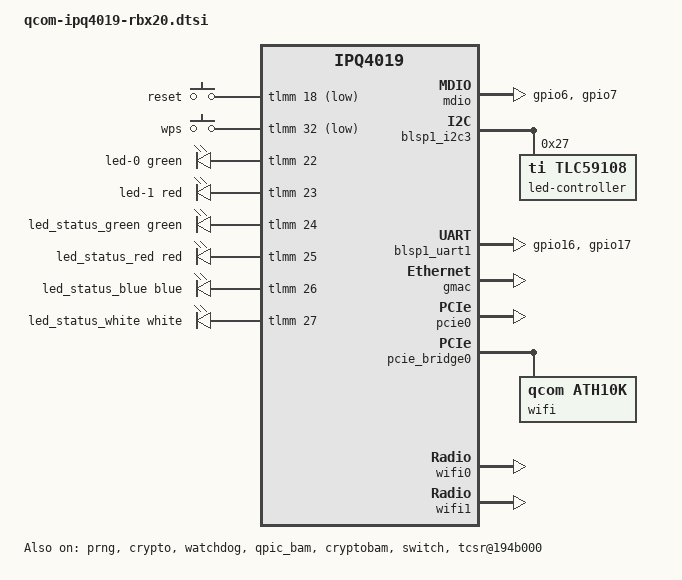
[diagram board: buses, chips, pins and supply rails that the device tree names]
// SPDX-License-Identifier: GPL-2.0-or-later OR MIT

#include "qcom-ipq4019.dtsi"
#include <dt-bindings/gpio/gpio.h>
#include <dt-bindings/input/input.h>
#include <dt-bindings/soc/qcom,tcsr.h>
#include <dt-bindings/leds/common.h>

/ {
	chosen {
		bootargs-append = "ubi.mtd=ubi root=/dev/ubiblock0_0";
	};

	aliases {
		led-boot = &led_status_white;
		led-failsafe = &led_status_red;
		led-running = &led_status_green;
		led-upgrade = &led_status_blue;
		label-mac-device = &gmac;
	};

	keys {
		compatible = "gpio-keys";

		reset {
			label = "reset";
			gpios = <&tlmm 18 GPIO_ACTIVE_LOW>;
			linux,code = <KEY_RESTART>;
		};

		wps {
			label = "wps";
			gpios = <&tlmm 32 GPIO_ACTIVE_LOW>;
			linux,code = <KEY_WPS_BUTTON>;
		};
	};

	leds {
		compatible = "gpio-leds";

		led-0 {
			function = LED_FUNCTION_POWER;
			color = <LED_COLOR_ID_GREEN>;
			gpios = <&tlmm 22 GPIO_ACTIVE_HIGH>;
			default-state = "on";
		};

		led-1 {
			function = LED_FUNCTION_POWER;
			color = <LED_COLOR_ID_RED>;
			gpios = <&tlmm 23 GPIO_ACTIVE_HIGH>;
			panic-indicator;
		};

		led_status_green: led-2 {
			function = LED_FUNCTION_STATUS;
			color = <LED_COLOR_ID_GREEN>;
			gpios = <&tlmm 24 GPIO_ACTIVE_HIGH>;
		};

		led_status_red: led-3 {
			function = LED_FUNCTION_STATUS;
			color = <LED_COLOR_ID_RED>;
			gpios = <&tlmm 25 GPIO_ACTIVE_HIGH>;
		};

		led_status_blue: led-4 {
			function = LED_FUNCTION_STATUS;
			color = <LED_COLOR_ID_BLUE>;
			gpios = <&tlmm 26 GPIO_ACTIVE_HIGH>;
		};

		led_status_white: led-5 {
			function = LED_FUNCTION_STATUS;
			color = <LED_COLOR_ID_WHITE>;
			gpios = <&tlmm 27 GPIO_ACTIVE_HIGH>;
		};
	};

	soc {
		tcsr@1949000 {
			compatible = "qcom,tcsr";
			reg = <0x1949000 0x100>;
			qcom,wifi_glb_cfg = <TCSR_WIFI_GLB_CFG>;
		};

		tcsr@194b000 {
			status = "okay";

			compatible = "qcom,tcsr";
			reg = <0x194b000 0x100>;
			qcom,usb-hsphy-mode-select = <TCSR_USB_HSPHY_HOST_MODE>;
		};

		ess_tcsr@1953000 {
			compatible = "qcom,tcsr";
			reg = <0x1953000 0x1000>;
			qcom,ess-interface-select = <TCSR_ESS_PSGMII>;
		};

		tcsr@1957000 {
			compatible = "qcom,tcsr";
			reg = <0x1957000 0x100>;
			qcom,wifi_noc_memtype_m0_m2 = <TCSR_WIFI_NOC_MEMTYPE_M0_M2>;
		};
	};
};

&prng {
	status = "okay";
};

&mdio {
	status = "okay";
	pinctrl-0 = <&mdio_pins>;
	pinctrl-names = "default";
};

&crypto {
	status = "okay";
};

&watchdog {
	status = "okay";
};

&blsp_dma {
	status = "okay";
};

&qpic_bam {
	status = "okay";
};

&tlmm {
	mdio_pins: mdio-pinmux {
		mux_mdio {
			pins = "gpio6";
			function = "mdio";
			bias-pull-up;
		};

		mux_mdc {
			pins = "gpio7";
			function = "mdc";
			bias-pull-up;
		};
	};

	serial_pins: serial-pinmux {
		function = "blsp_uart0";
		pins = "gpio16", "gpio17";
		bias-disable;
	};

	nand_pins: nand-pins {
		pullups {
			pins = "gpio53", "gpio58", "gpio59";
			function = "qpic";
			bias-pull-up;
		};

		pulldowns {
			pins = "gpio54", "gpio55", "gpio56",
				"gpio57", "gpio60", "gpio61",
				"gpio62", "gpio63", "gpio64",
				"gpio65", "gpio66", "gpio67",
				"gpio68", "gpio69";
			function = "qpic";
			bias-pull-down;
		};
	};
};

&blsp1_i2c3 {
	status = "okay";

	led-controller@27 {
		#address-cells = <1>;
		#size-cells = <0>;
		compatible = "ti,tlc59108"; /* really is tlc59208f */
		reg = <0x27>;

		led0@0 {
			function = LED_FUNCTION_BACKLIGHT;
			function-enumerator = <0>;
			color = <LED_COLOR_ID_WHITE>;
			reg = <0x0>;
			linux,default-trigger = "default-on";
		};

		led1@1 {
			function = LED_FUNCTION_BACKLIGHT;
			function-enumerator = <1>;
			color = <LED_COLOR_ID_WHITE>;
			reg = <0x1>;
			linux,default-trigger = "default-on";
		};

		led2@2 {
			function = LED_FUNCTION_BACKLIGHT;
			function-enumerator = <2>;
			color = <LED_COLOR_ID_WHITE>;
			reg = <0x2>;
			linux,default-trigger = "default-on";
		};

		led3@3 {
			function = LED_FUNCTION_BACKLIGHT;
			function-enumerator = <3>;
			color = <LED_COLOR_ID_WHITE>;
			reg = <0x3>;
			linux,default-trigger = "default-on";
		};
	};
};

&blsp1_uart1 {
	status = "okay";
	pinctrl-0 = <&serial_pins>;
	pinctrl-names = "default";
};

&cryptobam {
	status = "okay";
};

&gmac {
	status = "okay";

	nvmem-cell-names = "mac-address";
	nvmem-cells = <&mac_address_lan 0>;
};

&switch {
	status = "okay";
};

&pcie0 {
	status = "okay";

	perst-gpios = <&tlmm 38 GPIO_ACTIVE_LOW>;
	wake-gpios = <&tlmm 50 GPIO_ACTIVE_LOW>;
};

&pcie_bridge0 {
	wifi@0,0 {
		compatible = "qcom,ath10k";
		reg = <0x00010000 0 0 0 0>;
		ieee80211-freq-limit = <5170000 5350000>;
		nvmem-cell-names = "pre-calibration", "mac-address";
		nvmem-cells = <&precal_art_9000>, <&mac_address_wlan_2nd5g 0>;
		qcom,ath10k-calibration-variant = "Netgear-RBK20";
	};
};

&wifi0 {
	status = "okay";
	nvmem-cell-names = "pre-calibration", "mac-address";
	nvmem-cells = <&precal_art_1000>, <&mac_address_lan 0>;
	qcom,ath10k-calibration-variant = "Netgear-RBK20";
};

&wifi1 {
	status = "okay";
	ieee80211-freq-limit = <5470000 5815000>;
	nvmem-cell-names = "pre-calibration", "mac-address";
	nvmem-cells = <&precal_art_5000>, <&mac_address_wlan_5g 0>;
	qcom,ath10k-calibration-variant = "Netgear-RBK20";
};
